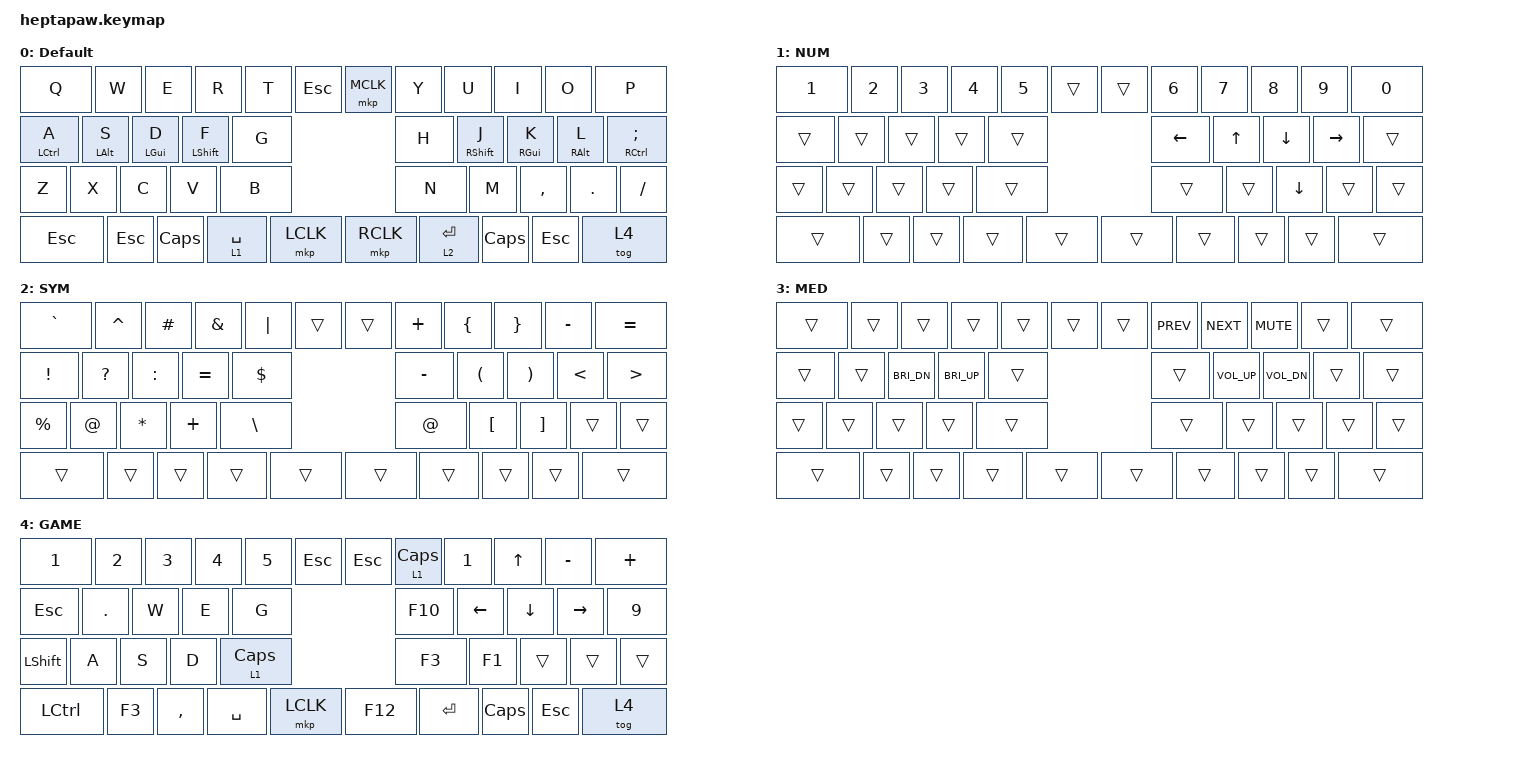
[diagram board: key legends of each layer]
#include <behaviors.dtsi>
#include <dt-bindings/zmk/keys.h>
#include <dt-bindings/zmk/bt.h>
#include <dt-bindings/zmk/outputs.h>
#include <dt-bindings/zmk/mouse.h>
#include <dt-bindings/zmk/pointing.h>
#include <dt-bindings/zmk/input_transform.h>

#define MAIN 0
#define NUM 1
#define SYM 2
#define MED 3
#define GAME 4

/ { 
    conditional_layers {
      compatible = "zmk,conditional-layers";
      tri_layer {
          if-layers = <NUM SYM>;
          then-layer = <MED>;
      };
    };

    behaviors {
        hm: homerow_mods {
            compatible = "zmk,behavior-hold-tap";
            label = "HOMEROW_MODS";
            bindings = <&kp>, <&kp>;

            #binding-cells = <2>;
            tapping-term-ms = <200>;
            quick-tap-ms = <150>;
            flavor = "tap-preferred";
        };

        ltq: ltq {
            compatible = "zmk,behavior-hold-tap";
            label = "LTQ";
            bindings = <&mo>, <&kp>;

            #binding-cells = <2>; 
            tapping-term-ms = <200>;
            quick-tap-ms = <180>;
        };

        as: auto_shift {
            compatible = "zmk,behavior-hold-tap";
            label = "AUTO_SHIFT";
            bindings = <&kp>, <&kp>;

            #binding-cells = <2>;
            tapping-term-ms = <135>;
            quick-tap-ms = <0>;
        };
    };


    keymap {
        compatible = "zmk,keymap";
        
        MAIN_layer {
          display-name = "Default";
            bindings = <
&kp Q        &kp W       &kp E       &kp R         &kp T      &kp ESC      &mkp MCLK    &kp Y       &kp U         &kp I        &kp O       &kp P     
&hm LCTRL A  &hm LALT S  &hm LGUI D  &hm LSHFT F   &kp G                                &kp H       &hm RSHFT J   &hm RGUI K   &hm RALT L  &hm RCTRL SEMICOLON            
&kp Z        &kp X       &kp C       &kp V         &kp B                                &kp N       &kp M         &kp COMMA    &kp DOT     &kp FSLH
&kp ESC      &kp ESC     &kp CAPS    &lt 1 SPACE   &mkp LCLK                            &mkp RCLK   &lt 2 ENTER   &kp CAPS     &kp ESC       &tog 4
>;
        };

       NUM {
            bindings = <
&kp N1  &kp N2  &kp N3  &kp N4  &kp N5    &trans    &trans   &kp N6    &kp N7    &kp N8    &kp N9      &kp N0     
&trans  &trans  &trans  &trans  &trans                       &kp LEFT  &kp UP    &kp DOWN  &kp RIGHT   &trans        
&trans  &trans  &trans  &trans  &trans                       &trans    &trans    &kp DOWN  &trans      &trans  
&trans  &trans  &trans  &trans  &trans                       &trans    &trans    &trans    &trans      &trans
>;
       };

       SYM {
            bindings = <
&kp GRAVE     &kp CARET     &kp POUND     &kp AMPS      &kp PIPE     &trans    &trans   &kp PLUS    &kp LBRC   &kp RBRC   &kp MINUS  &kp EQUAL     
&kp EXCL      &kp QMARK     &kp COLON     &kp EQUAL     &kp DLLR                        &kp MINUS   &kp LPAR   &kp RPAR   &kp LT     &kp GT             
&kp PRCNT     &kp AT        &kp STAR      &kp PLUS      &kp BSLH                        &kp AT      &kp LBKT   &kp RBKT   &trans     &trans 
&trans        &trans        &trans        &trans        &trans                          &trans      &trans     &trans     &trans     &trans
>;

        };

       MED {
            bindings = <
&trans  &trans  &trans        &trans        &trans    &trans    &trans   &kp C_PREV  &kp C_NEXT    &kp K_MUTE     &trans      &trans     
&trans  &trans  &kp C_BRI_DN  &kp C_BRI_UP  &trans                       &trans      &kp K_VOL_UP  &kp K_VOL_DN   &trans      &trans        
&trans  &trans  &trans        &trans        &trans                       &trans      &trans        &trans         &trans      &trans  
&trans  &trans  &trans        &trans        &trans                       &trans      &trans        &trans         &trans      &trans
>;
       };

        GAME {
            bindings = <
&kp N1     &kp N2   &kp N3      &kp N4     &kp N5     &kp ESC      &kp ESC      &lt 1 CAPS   &kp N1      &kp UP    &kp MINUS  &kp PLUS     
&kp ESC    &kp DOT  &kp W       &kp E      &kp G                                &kp F10      &kp LEFT    &kp DOWN  &kp RIGHT  &kp N9            
&kp LSHFT  &kp A    &kp S       &kp D      &lt 1 CAPS                           &kp F3       &kp F1      &trans    &trans     &trans
&kp LCTRL  &kp F3   &kp COMMA   &kp SPACE  &mkp LCLK                            &kp F12      &kp ENTER    &kp CAPS  &kp ESC   &tog 4
>;
       };
    };
};
